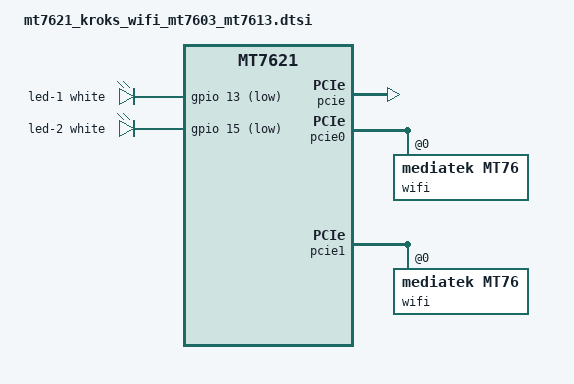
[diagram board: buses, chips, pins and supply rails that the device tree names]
#include "mt7621_kroks_v1.dtsi"

/ {
	gpio-leds {
		compatible = "gpio-leds";

		led-1 {
			color = <LED_COLOR_ID_WHITE>;
			gpios = <&gpio 13 GPIO_ACTIVE_LOW>;
			function = LED_FUNCTION_WLAN_2GHZ;
			linux,default-trigger = "phy0tpt";
		};

		led-2 {
			color = <LED_COLOR_ID_WHITE>;
			gpios = <&gpio 15 GPIO_ACTIVE_LOW>;
			function = LED_FUNCTION_WLAN_5GHZ;
			linux,default-trigger = "phy1tpt";
		};
	};
};

&state_default {
	/* wifi leds */
	gpio_jtag {
		groups = "jtag";
		function = "gpio";
	};
};

&nvmem_layout {
	/* MT7603 */
	eeprom_factory_0: eeprom@0 {
		reg = <0x0 0x400>;
	};

	/* MT7613 */
	eeprom_factory_8000: eeprom@8000 {
		reg = <0x8000 0x4da8>;
	};
};

&pcie {
	status = "okay";
};

&pcie0 {
	wifi@0,0 {
		compatible = "mediatek,mt76";
		reg = <0x0000 0 0 0 0>;
		ieee80211-freq-limit = <2400000 2500000>;

		nvmem-cells = <&eeprom_factory_0>;
		nvmem-cell-names = "eeprom";
	};
};

&pcie1 {
	wifi@0,0 {
		compatible = "mediatek,mt76";
		reg = <0x0000 0 0 0 0>;
		ieee80211-freq-limit = <5170000 5835000>;

		nvmem-cells = <&eeprom_factory_8000>;
		nvmem-cell-names = "eeprom";
	};
};
